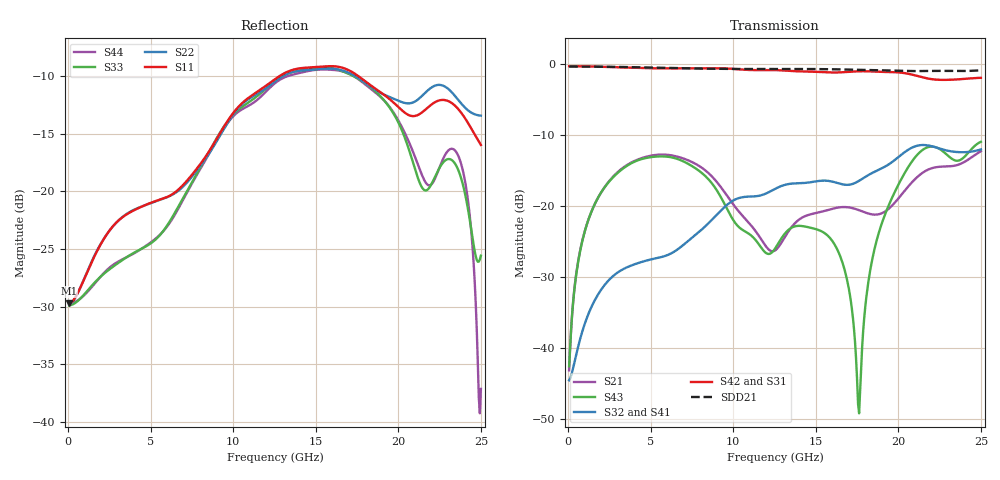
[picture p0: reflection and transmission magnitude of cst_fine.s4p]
! BV_ts_m2_per0_q050f25s_e35_in2gnd: /TS-USB4 Components/M2_PER0_P via F.Cu→In3.Cu at (161.287, 130.742) with its partner – diagnosis: In2 joined to every GND via
! stackup: Thunderscope_Rev5.3 from the board file and its kisi.json
! ports: 1 P in, 2 N in, 3 P out, 4 N out
! CST Studio Suite 2025.5 Release from 2025-05-30, time domain (FIT, hexahedral, PBA), 673920 mesh cells, 225 s
! mesh: {'lpw': 30.0, 'lpb': 30.0, 'minstep': 0.0, 'ratio': 20}; ports: port 1 (face); port 2 (face); port 3 (face); port 4 (face)
! interpolated from CST's 1001 samples to the case grid
# Hz S RI R 50
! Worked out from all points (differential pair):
!   400 points, 62.5 MHz to 25 GHz, reference 50 ohm
!   strongest paths, dB at 62.5 MHz, 6.312 GHz, 12.56 GHz, 18.81 GHz, 25 GHz:
!     S42: -0.3, -0.6, -0.8, -1.1, -1.9
!     S31: -0.3, -0.6, -0.9, -1.0, -2.0
!     S32: -44.6, -26.6, -17.6, -14.9, -12.0
!     S41: -45.2, -26.5, -17.6, -14.7, -11.5
!     S43: -42.6, -13.2, -25.9, -23.8, -10.9
!     S21: -43.2, -12.9, -26.2, -21.2, -12.3
!   taken as a pair (ports 2,1 in; 4,3 out), SDD21 dB: -0.3, -0.5, -0.7, -0.9, -0.9
!   lowest |S11| = -29.7 dB at 62.5 MHz (marker M1), VSWR 1.07, Z = 46.8 + j0.212 ohm
!   |S11| at or under -10 dB: start of sweep to 12.83 GHz; 17.55 GHz to end of sweep
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6.25e7  -0.0326 0.00226  0.00591 0.00403  0.9677 -0.0189  0.00563 -0.000999
        0.00562 0.00409  -0.0323 0.00222  0.00609 -0.00109  0.9672 -0.0188
        0.9671 -0.0188  0.00582 -0.00104  -0.032 0.00202  0.00565 0.0041
        0.00542 -0.000967  0.9674 -0.0188  0.00627 0.00398  -0.0326 0.00214
2.8125e9  0.00959 0.0712  0.1303 0.1011  0.6159 -0.7242  -0.0279 -0.0167
          0.1304 0.1014  0.00978 0.0711  -0.0282 -0.0171  0.616 -0.7243
          0.6161 -0.7236  -0.0281 -0.0168  0.036 0.0313  0.1279 0.1025
          -0.0281 -0.0163  0.6157 -0.7243  0.1273 0.1022  0.0367 0.0317
9.8125e9  0.0873 0.1901  0.0416 -0.1019  -0.9171 -0.1478  -0.0255 0.1029
          0.0421 -0.1019  0.0837 0.1878  -0.0281 0.1026  -0.9184 -0.1458
          -0.9163 -0.148  -0.0279 0.1022  -0.1385 0.1544  0.0428 -0.0756
          -0.0241 0.1029  -0.9175 -0.1459  0.0436 -0.0752  -0.1342 0.1537
1.60625e10  0.3479 -0.00428  0.053 -0.0808  0.1175 0.864  0.1352 -0.0566
            0.0534 -0.0799  0.3393 0.0088  0.1373 -0.0535  0.12 0.866
            0.1187 0.8648  0.138 -0.0537  0.3291 -0.087  0.0437 -0.0318
            0.1369 -0.0568  0.1214 0.8648  0.0446 -0.033  0.3218 -0.0945
1.7625e10  0.2975 -0.0991  -0.0236 -0.0904  0.5017 0.73  0.1147 -0.0995
           -0.0247 -0.0901  0.2981 -0.0767  0.1195 -0.0926  0.5107 0.7277
           0.5003 0.7308  0.1193 -0.0919  0.2018 -0.2295  -0.0047 -0.00182
           0.115 -0.0979  0.5124 0.7291  -0.00327 -0.00114  0.1844 -0.242
1.95625e10  0.2133 -0.1256  -0.0943 0.0261  0.8351 0.2983  0.0649 -0.1935
            -0.0959 0.0253  0.2347 -0.0977  0.0781 -0.186  0.8293 0.2867
            0.8337 0.2977  0.0782 -0.186  -0.00314 -0.2255  -0.00297 0.1098
            0.0642 -0.1916  0.8305 0.2891  -0.000349 0.1105  -0.021 -0.2262
2.5e10  0.0727 -0.1411  0.2121 0.111  0.2228 -0.7636  -0.2692 -0.0018
        0.215 0.1143  0.12 -0.1755  -0.2507 -0.00689  0.2313 -0.7698
        0.2269 -0.7632  -0.2505 -0.00871  -0.0208 -0.0483  0.2854 -0.0214
        -0.2666 0.00298  0.2307 -0.7667  0.2828 -0.0213  -0.00713 -0.012
